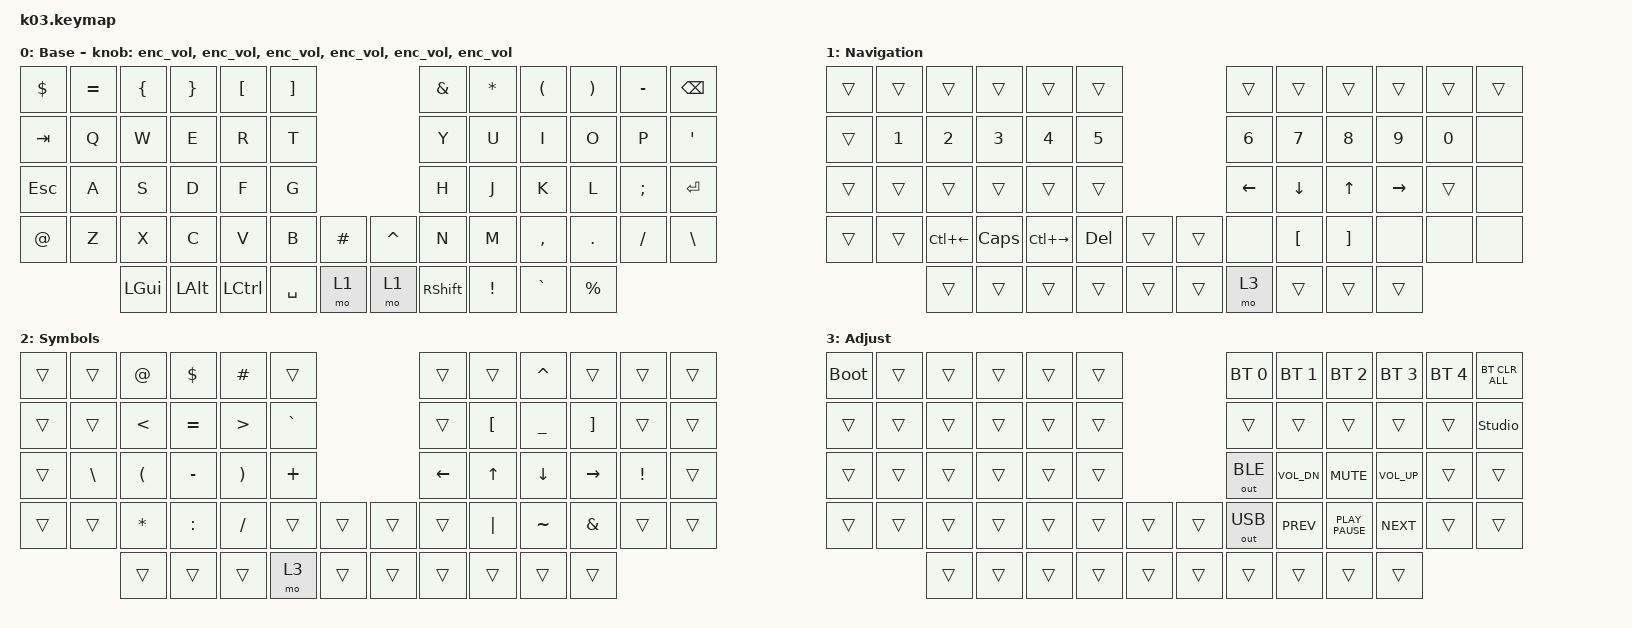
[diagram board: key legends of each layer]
#include "keys_ru.h"
#include <behaviors.dtsi>
#include <dt-bindings/zmk/bt.h>
#include <dt-bindings/zmk/keys.h>
#include <dt-bindings/zmk/outputs.h>

/ {
    behaviors {
        enc_vol: enc_vol {
            compatible = "zmk,behavior-sensor-rotate";
            label = "ENC_VOL";
            #sensor-binding-cells = <0>;
            bindings = <&kp C_VOL_UP>, <&kp C_VOL_DN>;
        };

        lbkt_4: lbkt_4 {
            compatible = "zmk,behavior-mod-morph";
            label = "LBKT_4";
            bindings = <&kp LEFT_BRACKET>, <&kp NUMBER_4>;

            #binding-cells = <0>;
            mods = <(MOD_LSFT|MOD_RSFT)>;
        };

        unds_minus: unds_minus {
            compatible = "zmk,behavior-mod-morph";
            label = "UNDS_MINUS";
            bindings = <&kp UNDERSCORE>, <&kp KP_MINUS>;

            #binding-cells = <0>;
            mods = <(MOD_LSFT|MOD_RSFT)>;
        };
    };

    keymap {
        compatible = "zmk,keymap";

        base {
            bindings = <
&kp DOLLAR   &kp EQUAL  &kp LEFT_BRACE  &kp RIGHT_BRACE  &kp LEFT_BRACKET  &kp RIGHT_BRACKET                         &kp AMPERSAND    &kp STAR  &kp LEFT_PARENTHESIS  &kp RIGHT_PARENTHESIS  &kp MINUS  &kp BACKSPACE
&kp TAB      &kp Q      &kp W           &kp E            &kp R             &kp T                                     &kp Y            &kp U     &kp I                 &kp O                  &kp P      &kp SQT
&kp ESC      &kp A      &kp S           &kp D            &kp F             &kp G                                     &kp H            &kp J     &kp K                 &kp L                  &kp SEMI   &kp ENTER
&kp AT_SIGN  &kp Z      &kp X           &kp C            &kp V             &kp B              &kp HASH    &kp CARET  &kp N            &kp M     &kp COMMA             &kp DOT                &kp FSLH   &kp BACKSLASH
                        &kp LGUI        &kp LEFT_ALT     &kp LCTRL         &kp SPACE          &mo 1       &mo 1      &kp RIGHT_SHIFT  &kp EXCL  &kp GRAVE             &kp PERCENT
            >;

            display-name = "Base";
            sensor-bindings =
                <&enc_vol>,
                <&enc_vol>,
                <&enc_vol>,
                <&enc_vol>,
                <&enc_vol>,
                <&enc_vol>;
        };

        nav {
            bindings = <
&trans  &trans  &trans        &trans        &trans         &trans                          &trans    &trans            &trans             &trans        &trans        &trans
&trans  &kp N1  &kp NUMBER_2  &kp NUMBER_3  &kp NUMBER_4   &kp NUMBER_5                    &kp N6    &kp NUMBER_7      &kp NUMBER_8       &kp NUMBER_9  &kp NUMBER_0  &none
&trans  &trans  &trans        &trans        &trans         &trans                          &kp LEFT  &kp DOWN          &kp UP             &kp RIGHT     &trans        &none
&trans  &trans  &kp LC(LEFT)  &kp CAPS      &kp LC(RIGHT)  &kp DEL       &trans    &trans  &none     &kp LEFT_BRACKET  &kp RIGHT_BRACKET  &none         &none         &none
                &trans        &trans        &trans         &trans        &trans    &trans  &mo 3     &trans            &trans             &trans
            >;

            display-name = "Navigation";
        };

        sym {
            bindings = <
&trans  &trans    &kp AT    &kp DLLR   &kp HASH  &trans                       &trans    &trans    &kp CARET  &trans     &trans    &trans
&trans  &trans    &kp LT    &kp EQUAL  &kp GT    &kp GRAVE                    &trans    &kp LBKT  &kp UNDER  &kp RBKT   &trans    &trans
&trans  &kp BSLH  &kp LPAR  &kp MINUS  &kp RPAR  &kp PLUS                     &kp LEFT  &kp UP    &kp DOWN   &kp RIGHT  &kp EXCL  &trans
&trans  &trans    &kp STAR  &kp COLON  &kp FSLH  &trans     &trans    &trans  &trans    &kp PIPE  &kp TILDE  &kp AMPS   &trans    &trans
                  &trans    &trans     &trans    &mo 3      &trans    &trans  &trans    &trans    &trans     &trans
            >;

            display-name = "Symbols";
        };

        adj {
            bindings = <
&bootloader  &trans  &trans  &trans  &trans  &trans                    &bt BT_SEL 0  &bt BT_SEL 1  &bt BT_SEL 2      &bt BT_SEL 3  &bt BT_SEL 4  &bt BT_CLR_ALL
&trans       &trans  &trans  &trans  &trans  &trans                    &trans        &trans        &trans            &trans        &trans        &studio_unlock
&trans       &trans  &trans  &trans  &trans  &trans                    &out OUT_BLE  &kp C_VOL_DN  &kp K_MUTE        &kp C_VOL_UP  &trans        &trans
&trans       &trans  &trans  &trans  &trans  &trans  &trans    &trans  &out OUT_USB  &kp K_PREV    &kp K_PLAY_PAUSE  &kp K_NEXT    &trans        &trans
                     &trans  &trans  &trans  &trans  &trans    &trans  &trans        &trans        &trans            &trans
            >;

            display-name = "Adjust";
        };
    };
};
